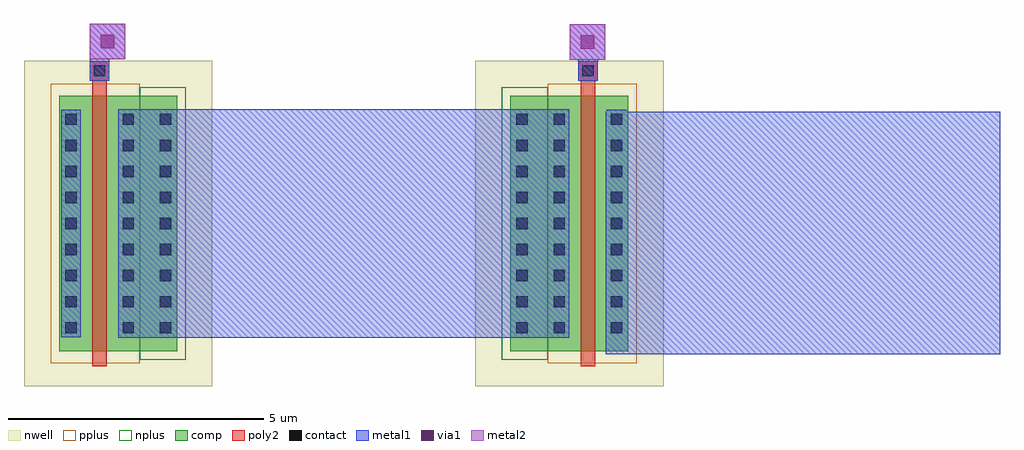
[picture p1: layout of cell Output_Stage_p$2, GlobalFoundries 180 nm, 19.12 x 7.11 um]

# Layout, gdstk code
from math import pi, radians
import gdstk
lib = gdstk.Library(unit=1e-6, precision=1e-09)
def R(c, l, rs):  # rectangles x0, y0, x1, y1
    for r in rs: c.add(gdstk.rectangle(r[:2], r[2:], *l))
def A(c, l, x, y, w, h, nx, ny, dx, dy):  # array of equal rectangles
    R(c, l, [(x+i*dx, y+j*dy, x+i*dx+w, y+j*dy+h) for i in range(nx) for j in range(ny)])
nwell = (21, 0)
comp = (22, 0)
poly2 = (30, 0)
pplus = (31, 0)
nplus = (32, 0)
contact = (33, 0)
metal1 = (34, 0)
via1 = (35, 0)
metal2 = (36, 0)

pfet_3 = lib.new_cell('pfet$3')
R(pfet_3, nwell, [(-1.15,-0.69,2.54,5.69)])
R(pfet_3, comp, [(-0.46,0,0,5), (0,0,0.66,5), (0.66,0,1.12,5), (1.12,0,1.85,5)])
R(pfet_3, poly2, [(0.19,-0.3,0.47,5.3), (0.14,5.3,0.52,5.68)])
R(pfet_3, pplus, [(-0.63,-0.24,1.12,5.24)])
R(pfet_3, nplus, [(1.12,-0.17,2.02,5.17)])
A(pfet_3, contact, -0.34, 0.35, 0.22, 0.22, 1, 9, 0, 0.51)
A(pfet_3, contact, 0.78, 0.35, 0.22, 0.22, 1, 9, 0, 0.51)
A(pfet_3, contact, 1.51, 0.35, 0.22, 0.22, 1, 9, 0, 0.51)
R(pfet_3, contact, [(0.22,5.38,0.44,5.6)])
R(pfet_3, metal1, [(-0.42,0.27,-0.04,4.73), (0.7,0.27,1.08,4.73), (1.43,0.27,1.81,4.73), (0.14,5.299,0.52,5.681)])

via_dev_4 = lib.new_cell('via_dev$4')
R(via_dev_4, metal1, [(0,0,0.7,0.7)])
R(via_dev_4, via1, [(0.22,0.22,0.48,0.48)])
R(via_dev_4, metal2, [(0,0,0.7,0.7)])

output_stage_p_2 = lib.new_cell('Output_Stage_p$2')
R(output_stage_p_2, metal1, [(7.505,-0.18,15.225,4.57), (-2.045,0.15,6.79,4.62), (-2.6,5.18,-2.22,5.185), (6.965,5.18,7.345,5.185), (-2.6,5.38,-2.22,5.735), (6.965,5.395,7.345,5.755)])
output_stage_p_2.add(gdstk.Reference(pfet_3, (7.485,-0.115), rotation=pi, x_reflection=True))
output_stage_p_2.add(gdstk.Reference(pfet_3, (-2.74,-0.115)))
output_stage_p_2.add(gdstk.Reference(via_dev_4, (-1.905,5.6), rotation=pi/2))
output_stage_p_2.add(gdstk.Reference(via_dev_4, (7.495,5.59), rotation=pi/2))

lib.write_gds('Output_Stage_p_2.gds')
